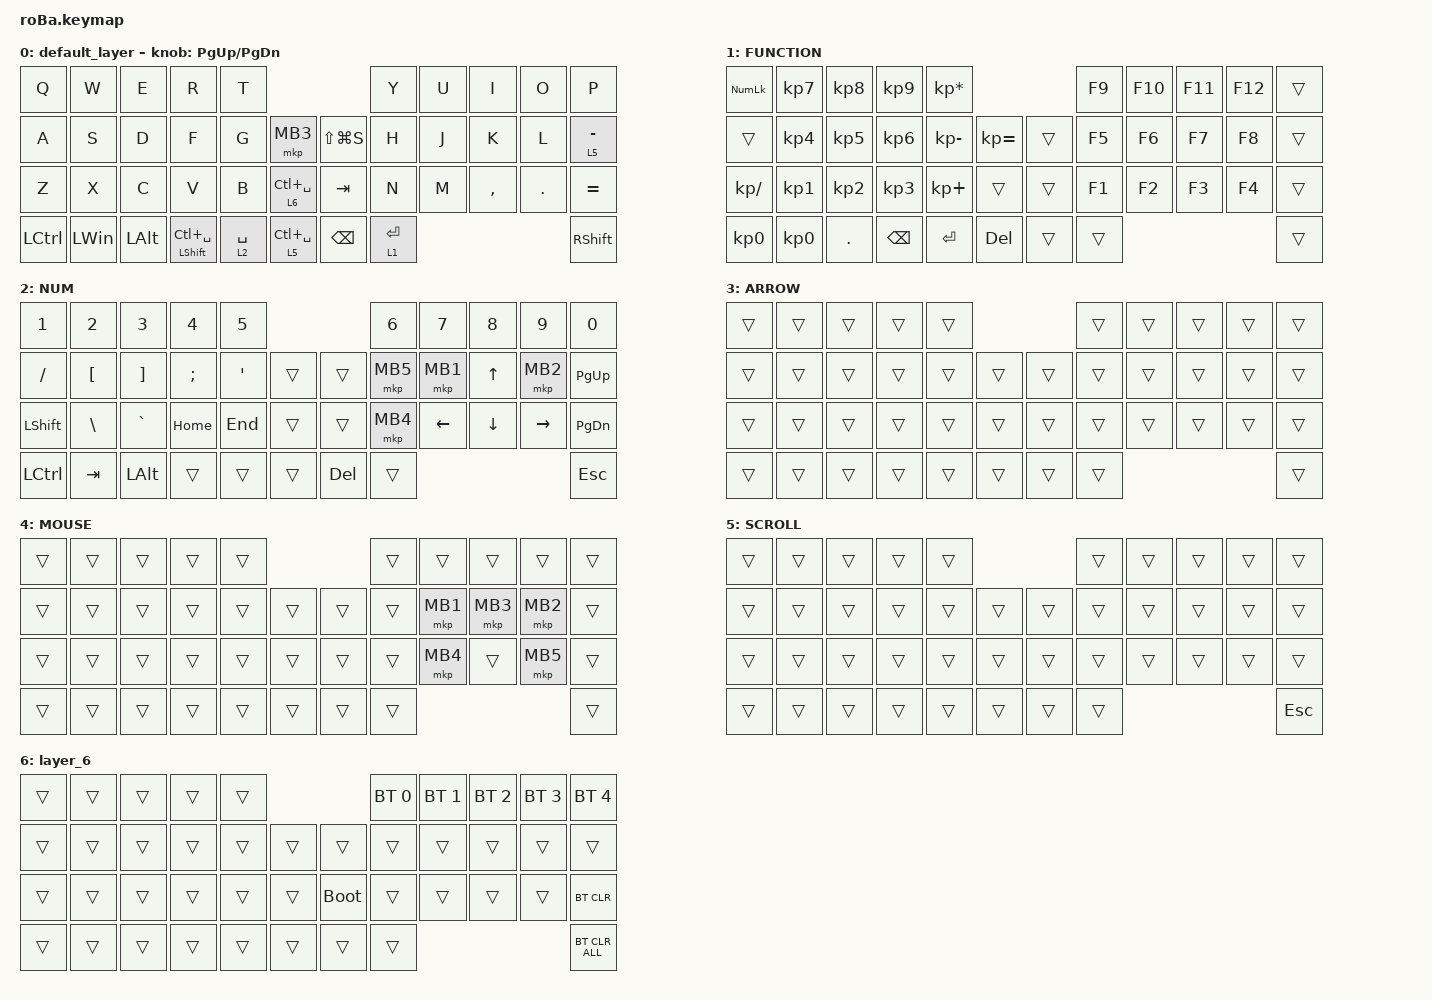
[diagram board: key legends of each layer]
#include <behaviors.dtsi>
#include <dt-bindings/zmk/bt.h>
#include <dt-bindings/zmk/keys.h>
#include <dt-bindings/zmk/pointing.h>

#define MOUSE 4
#define SCROLL 5
#define NUM 6
#define ZMK_POINTING_SCRL_VAL 100

&mt {
    flavor = "balanced";
    quick-tap-ms = <0>;
};

/ {
    combos {
        compatible = "zmk,combos";

        tab {
            bindings = <&kp TAB>;
            key-positions = <11 12>;
        };

        shift_tab {
            bindings = <&kp LS(TAB)>;
            key-positions = <12 13>;
        };

        muhennkann {
            bindings = <&to_layer_0 INT_MUHENKAN>;
            key-positions = <11 10>;
        };

        double_quotation {
            bindings = <&kp DOUBLE_QUOTES>;
            key-positions = <20 21>;
        };

        eq {
            bindings = <&kp EQUAL>;
            key-positions = <24 25>;
        };
    };

    macros {
        to_layer_0: to_layer_0 {
            compatible = "zmk,behavior-macro-one-param";
            #binding-cells = <1>;
            bindings = <&to 0 &macro_param_1to1 &kp MACRO_PLACEHOLDER>;
            label = "TO_LAYER_0";
        };
    };

    behaviors {
        lt_to_layer_0: lt_to_layer_0 {
            compatible = "zmk,behavior-hold-tap";
            label = "LAYER_TAP_TO_0";
            bindings = <&mo>, <&to_layer_0>;

            #binding-cells = <2>;
            tapping-term-ms = <200>;
        };

        scroll_up_down: behavior_sensor_rotate_mouse_wheel_up_down {
            compatible = "zmk,behavior-sensor-rotate";
            #sensor-binding-cells = <0>;
            bindings = <&msc SCRL_DOWN>, <&msc SCRL_UP>;

            tap-ms = <20>;
        };
    };

    keymap {
        compatible = "zmk,keymap";

        default_layer {
            bindings = <
&kp Q      &kp W         &kp E         &kp R                     &kp T                                            &kp Y        &kp U  &kp I      &kp O    &kp P
&kp A      &kp S         &kp D         &kp F                     &kp G        &mkp MB3             &kp LS(LG(S))  &kp H        &kp J  &kp K      &kp L    &lt 5 MINUS
&kp Z      &kp X         &kp C         &kp V                     &kp B        &lt 6 LC(SPACE)      &kp TAB        &kp N        &kp M  &kp COMMA  &kp DOT  &kp EQUAL
&kp LCTRL  &kp LEFT_WIN  &kp LEFT_ALT  &mt LEFT_SHIFT LC(SPACE)  &lt 2 SPACE  &lt 5 LC(SPACE)      &kp BACKSPACE  &lt 1 ENTER                             &kp RIGHT_SHIFT
            >;

            sensor-bindings = <&inc_dec_kp PAGE_UP PAGE_DOWN>;
        };

        FUNCTION {
            bindings = <
&kp KP_NUMLOCK   &kp KP_NUMBER_7  &kp KP_NUMBER_8  &kp KP_NUMBER_9  &kp KP_ASTERISK                            &kp F9  &kp F10  &kp F11  &kp F12  &trans
&trans           &kp KP_NUMBER_4  &kp KP_NUMBER_5  &kp KP_NUMBER_6  &kp KP_MINUS     &kp KP_EQUAL      &trans  &kp F5  &kp F6   &kp F7   &kp F8   &trans
&kp KP_DIVIDE    &kp KP_NUMBER_1  &kp KP_NUMBER_2  &kp KP_NUMBER_3  &kp KP_PLUS      &trans            &trans  &kp F1  &kp F2   &kp F3   &kp F4   &trans
&kp KP_NUMBER_0  &kp KP_NUMBER_0  &kp PERIOD       &kp BACKSPACE    &kp ENTER        &kp DELETE        &trans  &trans                             &trans
            >;
        };

        NUM {
            bindings = <
&kp NUMBER_1      &kp NUMBER_2      &kp NUMBER_3       &kp NUMBER_4   &kp N5                                    &kp NUMBER_6  &kp N7          &kp N8          &kp N9           &kp N0
&kp SLASH         &kp LEFT_BRACKET  &kp RIGHT_BRACKET  &kp SEMICOLON  &kp SINGLE_QUOTE  &trans      &trans      &mkp MB5      &mkp MB1        &kp UP_ARROW    &mkp MB2         &kp PAGE_UP
&kp LEFT_SHIFT    &kp BACKSLASH     &kp GRAVE          &kp HOME       &kp END           &trans      &trans      &mkp MB4      &kp LEFT_ARROW  &kp DOWN_ARROW  &kp RIGHT_ARROW  &kp PAGE_DOWN
&kp LEFT_CONTROL  &kp TAB           &kp LEFT_ALT       &trans         &trans            &trans      &kp DELETE  &trans                                                         &kp ESC
            >;
        };

        ARROW {
            bindings = <
&trans  &trans  &trans  &trans  &trans                      &trans  &trans  &trans  &trans  &trans
&trans  &trans  &trans  &trans  &trans  &trans      &trans  &trans  &trans  &trans  &trans  &trans
&trans  &trans  &trans  &trans  &trans  &trans      &trans  &trans  &trans  &trans  &trans  &trans
&trans  &trans  &trans  &trans  &trans  &trans      &trans  &trans                          &trans
            >;
        };

        MOUSE {
            bindings = <
&trans  &trans  &trans  &trans  &trans                      &trans  &trans    &trans    &trans    &trans
&trans  &trans  &trans  &trans  &trans  &trans      &trans  &trans  &mkp MB1  &mkp MB3  &mkp MB2  &trans
&trans  &trans  &trans  &trans  &trans  &trans      &trans  &trans  &mkp MB4  &trans    &mkp MB5  &trans
&trans  &trans  &trans  &trans  &trans  &trans      &trans  &trans                                &trans
            >;
        };

        SCROLL {
            bindings = <
&trans  &trans  &trans  &trans  &trans                      &trans  &trans  &trans  &trans  &trans
&trans  &trans  &trans  &trans  &trans  &trans      &trans  &trans  &trans  &trans  &trans  &trans
&trans  &trans  &trans  &trans  &trans  &trans      &trans  &trans  &trans  &trans  &trans  &trans
&trans  &trans  &trans  &trans  &trans  &trans      &trans  &trans                          &kp ESCAPE
            >;
        };

        layer_6 {
            bindings = <
&trans  &trans  &trans  &trans  &trans                           &bt BT_SEL 0  &bt BT_SEL 1  &bt BT_SEL 2  &bt BT_SEL 3  &bt BT_SEL 4
&trans  &trans  &trans  &trans  &trans  &trans      &trans       &trans        &trans        &trans        &trans        &trans
&trans  &trans  &trans  &trans  &trans  &trans      &bootloader  &trans        &trans        &trans        &trans        &bt BT_CLR
&trans  &trans  &trans  &trans  &trans  &trans      &trans       &trans                                                  &bt BT_CLR_ALL
            >;
        };
    };
};
